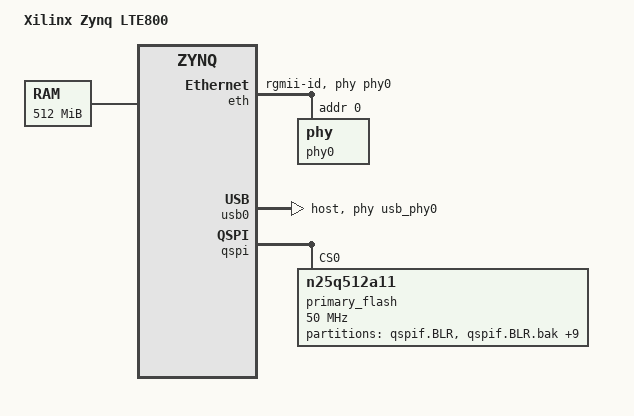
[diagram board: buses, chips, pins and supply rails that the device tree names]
/include/ "zynq.dtsi"

/ {
	model = "Xilinx Zynq LTE800";
/include/ "dt_ver.dtsi"
	memory {
		device_type = "memory";
		reg = <0x000000000 0x20000000>;
	};

	chosen {
//		bootargs = "console=ttyPS0,115200 root=/dev/ram rw initrd=0x1100000,33M ip=:::::eth0:dhcp earlyprintk";
		bootargs = "console=ttyPS0,115200 root=/dev/mmcblk0p2 rw earlyprintk rootfstype=ext4 rootwait";
		linux,stdout-path = "/amba@0/uart@E0001000";
	};

	usb_phy0: phy0 {
		compatible = "ulpi-phy";
		#phy-cells = <0>;
		reg = <0xe0002000 0x1000>;
		view-port = <0x0170>;
		drv-vbus;
	};

	amba_pl {
		#address-cells = <0x1>;
		#size-cells = <0x1>;
		compatible = "simple-bus";
		ranges;

		zptty@40001000 {
			compatible = "ikwzm,zptty-0.10.a";
			minor-number = <0>;
			reg = <0x40001000 0x80>;
			interrupt-parent = <&intc>;
			interrupts = <0x0 29 0x4>;
		};

		//vvtpackdev_0@40000C20 {
		//	compatible = "xlnx,opb-vvtpackdev-1.00.b";
		//	reg = <0x40000C20 0x10000>;
		//	interrupt-parent = <&intc>;
		//	interrupts = <0 29 4>;
		//	clock = <100000000>;
		//};

		dfe_rom@8c008000 {
			compatible = "xlnx,dfe-rom-1.0";
			reg = <0x8c008000 0x4000>;
		};

		dfe_scratch@8c000000 {
			compatible = "xlnx,dfe-scratch-1.0";
			reg = <0x8c000000 0x1000>;
		};

		dfe_clk_ctrl@8c001000 {
			compatible = "xlnx,dfe-clk-ctrl-1.0";
			reg = <0x8c001000 0x1000>;
		};

		dfe_ext_sync@8e002000 {
			compatible = "xlnx,dfe-ext-sync-1.0";
			reg = <0x8e002000 0x1000>;
			xlnx,antennas = <0x1>;
			xlnx,phases = <0x1>;
			xlnx,rate = <0x8>;
		};

		dfe_glitch_protect@8e005000 {
			compatible = "xlnx,dfe-glitch-protect-1.0";
			reg = <0x8e005000 0x1000>;
			xlnx,antennas = <0x1>;
			xlnx,output-reg = <0x2>;
			xlnx,phases = <0x1>;
		};

		jesd204@8e004000 {
			compatible = "xlnx,jesd204-7.1";
			reg = <0x8e004000 0x1000>;
			xlnx,axiclk-freq = "100.0";
			xlnx,component-name = "zynq_1_jesd204_rx_0_0";
			xlnx,default-f = <0x1>;
			xlnx,default-k = <0x20>;
			xlnx,default-scr = <0x0>;
			xlnx,default-sysref-always = <0x0>;
			xlnx,default-sysref-required = <0x0>;
			xlnx,drpclk-freq = "100.0";
			xlnx,global-clk-sel = "true";
			xlnx,gt-line-rate = "9.8304";
			xlnx,gt-refclk-freq = "245.760";
			xlnx,lanes = <0x1>;
			xlnx,lmfc-buffer-size = <0x6>;
			xlnx,node-is-transmit = <0x0>;
			xlnx,pll-selection = <0x3>;
			xlnx,speedgrade = "-2";
			xlnx,supportlevel = <0x0>;
			xlnx,sysref-sampling-edge = <0x0>;
			xlnx,transceiver = "GTXE2";
			xlnx,transceivercontrol = "false";
			xlnx,use-jspat = "false";
			xlnx,use-rpat = "false";
		};

		jesd204@8e003000 {
			compatible = "xlnx,jesd204-7.1";
			reg = <0x8e003000 0x1000>;
			xlnx,axiclk-freq = "100.0";
			xlnx,component-name = "zynq_1_jesd204_tx_0_0";
			xlnx,default-f = <0x1>;
			xlnx,default-k = <0x20>;
			xlnx,default-scr = <0x0>;
			xlnx,default-sysref-always = <0x0>;
			xlnx,default-sysref-required = <0x0>;
			xlnx,drpclk-freq = "100.0";
			xlnx,global-clk-sel = "true";
			xlnx,gt-line-rate = "9.8304";
			xlnx,gt-refclk-freq = "245.760";
			xlnx,lanes = <0x1>;
			xlnx,lmfc-buffer-size = <0x6>;
			xlnx,node-is-transmit = <0x1>;
			xlnx,pll-selection = <0x3>;
			xlnx,speedgrade = "-2";
			xlnx,supportlevel = <0x0>;
			xlnx,sysref-sampling-edge = <0x0>;
			xlnx,transceiver = "GTXE2";
			xlnx,transceivercontrol = "false";
			xlnx,use-jspat = "true";
			xlnx,use-rpat = "true";
		};

		dfe_capture_mux@87008000 {
			compatible = "xlnx,dfe-capture-mux-1.0";
			reg = <0x87008000 0x1000>;
			xlnx,adc-phases = <0x1>;
			xlnx,adc-rate = <0x8>;
			xlnx,antennas = <0x1>;
			xlnx,cfr-phases = <0x1>;
			xlnx,cfr-rate = <0x8>;
			xlnx,dac-phases = <0x1>;
			xlnx,dac-rate = <0x8>;
			xlnx,dpd-phases = <0x1>;
			xlnx,dpd-rate = <0x8>;
			xlnx,output-reg = <0x2>;
			xlnx,vec-rx-phases = <0x1>;
			xlnx,vec-rx-rate = <0x8>;
			xlnx,vec-tx-phases = <0x1>;
			xlnx,vec-tx-rate = <0x8>;
		};

		pc_cfr@85000000 {
			compatible = "xlnx,pc-cfr-6.1";
			reg = <0x85000000 0x100000>;
			xlnx,axis-dyn-ctrl-tdata-width = <0x8>;
			xlnx,axis-dyn-ctrl-tuser-width = <0x1>;
			xlnx,axis-tdata-width = <0x20>;
			xlnx,axis-tuser-width = <0x8>;
			xlnx,cfr-1x-data-mode = <0x0>;
			xlnx,clks-per-samp = <0x1>;
			xlnx,component-name = "zynq_1_CFR_1_0";
			xlnx,data-width = <0x10>;
			xlnx,elaboration-dir = "./";
			xlnx,max-cp-len = <0x7ff>;
			xlnx,max-peak-delay = <0xc8>;
			xlnx,mif-size = <0x1>;
			xlnx,num-antennas = <0x1>;
			xlnx,num-cpgs-iter0 = <0x8>;
			xlnx,num-cpgs-iter1 = <0x6>;
			xlnx,num-cpgs-iter2 = <0x4>;
			xlnx,num-cpgs-iter3 = <0x4>;
			xlnx,num-cpgs-iter4 = <0x4>;
			xlnx,num-cpgs-iter5 = <0x4>;
			xlnx,num-cpgs-iter6 = <0x4>;
			xlnx,num-cpgs-iter7 = <0x4>;
			xlnx,num-filters = <0x2>;
			xlnx,num-iterations = <0x4>;
			xlnx,real-complex-cp = <0x1>;
			xlnx,wcfr-mode = <0x0>;
			xlnx,write-filters = <0x1>;
			xlnx,xdevicefamily = "zynq";
		};

		dfe_gain_ctrl@86001000 {
			compatible = "xlnx,dfe-gain-ctrl-1.0";
			reg = <0x86001000 0x1000>;
			xlnx,antennas = <0x1>;
			xlnx,phases = <0x1>;
		};

		dpd@80000000 {
			compatible = "generic-uio";
			interrupt-parent = <0x4>;
			interrupts = <0x0 30 0x1>;
			reg = <0x80000000 0x4000000 0x84000000 0x20000>;
		};

		dfe_gain_ctrl@86002000 {
			compatible = "xlnx,dfe-gain-ctrl-1.0";
			reg = <0x86002000 0x1000>;
			xlnx,antennas = <0x1>;
			xlnx,phases = <0x1>;
		};

		dfe_vec_mux@86003000 {
			compatible = "xlnx,dfe-vec-mux-1.0";
			reg = <0x86003000 0x1000>;
			xlnx,antennas = <0x1>;
			xlnx,output-reg = <0x2>;
			xlnx,phases = <0x1>;
		};

		dfe_dlb@87006000 {
			compatible = "xlnx,dfe-dlb-1.0";
			reg = <0x87006000 0x2000>;
			xlnx,antennas = <0x1>;
			xlnx,has-fb-model = <0x1>;
			xlnx,has-pa-model = <0x1>;
			xlnx,phases = <0x1>;
			xlnx,xdevicefamily = "zynq";
		};

		dfe_equ@87005000 {
			compatible = "xlnx,dfe-equ-1.0";
			reg = <0x87005000 0x1000>;
			xlnx,antennas = <0x1>;
			xlnx,equ-taps = <0x10>;
			xlnx,has-equ = <0x1>;
			xlnx,output-reg = <0x2>;
			xlnx,phases = <0x1>;
			xlnx,xdevicefamily = "zynq";
		};

		dfe_equ@87004000 {
			compatible = "xlnx,dfe-equ-1.0";
			reg = <0x87004000 0x1000>;
			xlnx,antennas = <0x1>;
			xlnx,equ-taps = <0x10>;
			xlnx,has-equ = <0x1>;
			xlnx,output-reg = <0x2>;
			xlnx,phases = <0x1>;
			xlnx,xdevicefamily = "zynq";
		};

		dfe_cif@87003000 {
			compatible = "xlnx,dfe-cif-1.0";
			reg = <0x87003000 0x1000>;
			xlnx,antennas = <0x1>;
			xlnx,has-cif = <0x1>;
			xlnx,phases = <0x1>;
			xlnx,tuser-width = <0x8>;
		};

		dfe_time_ctrl@8d050000 {
			compatible = "xlnx,dfe-time-ctrl-1.0";
			reg = <0x8d050000 0x10000>;
			xlnx,clock-rate = <0x8>;
			xlnx,hd-data-width = <0x20>;
			xlnx,hd2tm-antennas = <0x1>;
			xlnx,pad-mode = <0x2>;
			xlnx,slave-mode = <0x1>;
			xlnx,test-mode = <0x0>;
			xlnx,tm-antennas = <0x1>;
			xlnx,tm-data-width = <0x20>;
			xlnx,tuser-width = <0x8>;
		};

		dfe_vec_store@8d010000 {
			compatible = "xlnx,dfe-vec-store-1.0";
			reg = <0x8d010000 0x10000>;
			xlnx,data-width = <0x80>;
			xlnx,has-desc-if = <0x1>;
			xlnx,max-burst-length = <0x40>;
			xlnx,tfifo-level-width = <0x14>;
			xlnx,tfifo-size-bytes = <0x2000>;
		};

		memory-controller@40000000 {
			compatible = "xlnx,mig-7series-4.0";
			device_type = "reserved-memory";
			reg = <0x40000000 0x40000000>;
		};

		dfe_time_ctrl@8d040000 {
			compatible = "xlnx,dfe-time-ctrl-1.0";
			reg = <0x8d040000 0x10000>;
			xlnx,clock-rate = <0x8>;
			xlnx,hd-data-width = <0x20>;
			xlnx,hd2tm-antennas = <0x1>;
			xlnx,pad-mode = <0x1>;
			xlnx,slave-mode = <0x0>;
			xlnx,test-mode = <0x0>;
			xlnx,tm-antennas = <0x1>;
			xlnx,tm-data-width = <0x20>;
			xlnx,tuser-width = <0x8>;
		};

		dfe_vec_fetch@8d000000 {
			compatible = "xlnx,dfe-vec-fetch-1.0";
			reg = <0x8d000000 0x10000>;
			xlnx,data-width = <0x80>;
			xlnx,has-desc-if = <0x1>;
			xlnx,max-burst-length = <0x40>;
			xlnx,tfifo-level-width = <0x14>;
			xlnx,tfifo-size-bytes = <0x2000>;
			xlnx,user-width = <0x8>;
		};

		dfe_gain_ctrl@8d090000 {
			compatible = "xlnx,dfe-gain-ctrl-1.0";
			reg = <0x8d090000 0x1000>;
			xlnx,antennas = <0x1>;
			xlnx,phases = <0x1>;
		};
	};

};

&eth {
	phy-handle = <&phy0>;
	phy-mode = "rgmii-id";

	phy0: phy@0 {
		device_type = "ethernet-phy";
		reg = <0x0>;
		marvell,reg-init=<3 16 0xff00 0x1e 3 17 0xfff0 0x0a>;
	};
};


&usb0 {
	xlnx,phy-reset-gpio = <&gpio0 7 0>;
	status = "okay";
	//dr_mode = "peripheral";
	dr_mode = "host";
	usb-phy = <&usb_phy0>;


};

//&i2c0 {
//	status = "okay";
//
//	tmp1075@48 {
//	compatible = "tmp1075";
//	reg = <0x48>;
//	};
//};


&qspi {
	status = "okay";
	is-dual = <0>;
	num-cs = <1>;
	primary_flash: ps7-qspi@0 {
		#address-cells = <1>;
		#size-cells = <1>;
		compatible = "n25q512a11";
		reg = <0x0>;
		spi-max-frequency = <50000000>;

		partition@0 {
			label = "qspif.BLR";
			reg = <0x00000000 0x000E0000>;
		};
		partition@1 {
			label = "qspif.BLR.bak";
			reg = <0x000E0000 0x000E0000>;
		};
		partition@2 {
			label = "qspif.ENV";
			reg = <0x001C0000 0x00020000>;
		};
		partition@3 {
			label = "qspif.ENV.bak";
			reg = <0x001E0000 0x00020000>;
		};
		partition@4 {
			label = "qspif.DTB";
			reg = <0x00200000 0x00080000>;
		};
		partition@5 {
			label = "qspif.DTB.bak";
			reg = <0x00280000 0x00080000>;
		};
//------------------3M cut---------------------
		partition@6 {
			label = "qspif.KNL";
			reg = <0x00300000 0x00500000>;
		};
		partition@7 {
			label = "qspif.KNL.bak";
			reg = <0x00800000 0x00500000>;
		};
//------------------13M cut--------------------
		partition@8 {
			label = "qspif.SYSROOT";
			reg = <0x00D00000 0x01300000>;
		};
//------------------32M cut--------------------
		partition@9 {
			label = "qspif.OPTFS";
			reg = <0x02000000 0x01300000>;
		};
		partition@10 {
			label = "qspif.BIT";
			reg = <0x03300000 0x00D00000>;
		};
	};
};
